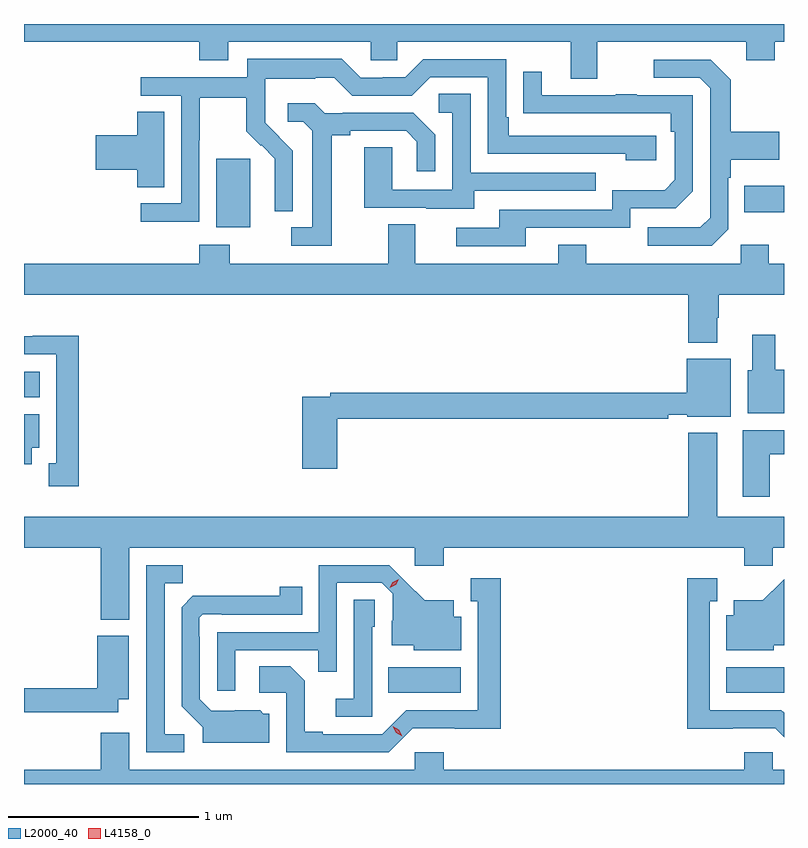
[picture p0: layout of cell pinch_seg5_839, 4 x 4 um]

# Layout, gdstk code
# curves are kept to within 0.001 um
import gdstk
lib = gdstk.Library(unit=1e-6, precision=1e-09)
def R(c, l, rs):  # rectangles x0, y0, x1, y1
    for r in rs: c.add(gdstk.rectangle(r[:2], r[2:], *l))
def P(c, l, *ps):  # polygons
    for p in ps: c.add(gdstk.Polygon(p, *l))
L2000_40 = (2000, 40)
L4158_0 = (4158, 0)

pinch_seg5_839 = lib.new_cell('pinch_seg5_839')
R(pinch_seg5_839, L2000_40, [(793.156,889.298,793.537,889.432), (794.936,889.298,795.239,889.432), (791.239,890.852,791.323,890.986), (792.251,891.746,792.43,892.107), (795.031,891.827,795.239,891.967)])
P(pinch_seg5_839, L2000_40, [(791.239,892.724),(792.161,892.724),(792.161,892.625),(792.313,892.625),(792.313,892.724),(793.065,892.724),(793.065,892.626),(793.203,892.626),(793.203,892.724),(794.117,892.724),(794.117,892.53),(794.257,892.53),(794.257,892.724),(795.041,892.724),(795.041,892.625),(795.189,892.625),(795.189,892.724),(795.239,892.724),(795.239,892.817),(791.239,892.817)],
  [(792.162,892.204),(792.165,892.204),(792.165,892.428),(792.409,892.428),(792.409,892.253),(792.486,892.176),(792.489,892.179),(792.56,892.109),(792.56,891.986),(792.558,891.986),(792.558,891.832),(792.654,891.832),(792.654,892.15),(792.508,892.298),(792.508,892.395),(792.51,892.395),(792.51,892.529),(792.773,892.529),(792.773,892.533),(792.873,892.533),(792.966,892.44),(793.281,892.44),(793.377,892.536),(793.68,892.536),(793.68,892.134),(794.405,892.134),(794.405,892.1),(794.566,892.1),(794.566,892.23),(793.789,892.23),(793.789,892.327),(793.776,892.327),(793.776,892.632),(793.341,892.632),(793.245,892.536),(793.127,892.536),(793.127,892.533),(793.011,892.533),(792.911,892.633),(792.414,892.633),(792.414,892.536),(791.853,892.536),(791.853,892.44),(792.066,892.44),(792.066,891.873),(791.853,891.873),(791.853,891.775),(792.162,891.775)],
  [(794.946,891.738),(794.946,892.007),(794.959,892.007),(794.959,892.103),(795.215,892.103),(795.215,892.251),(794.959,892.251),(794.959,892.523),(794.853,892.629),(794.553,892.629),(794.553,892.533),(794.796,892.533),(794.85,892.479),(794.85,891.798),(794.799,891.747),(794.523,891.747),(794.523,891.651),(794.859,891.651)],
  [(793.879,891.744),(794.43,891.744),(794.43,891.846),(794.67,891.846),(794.76,891.936),(794.76,892.443),(794.465,892.443),(794.465,892.448),(794.353,892.448),(794.353,892.443),(793.963,892.443),(793.963,892.567),(793.867,892.567),(793.867,892.348),(794.644,892.347),(794.644,892.25),(794.664,892.25),(794.664,891.996),(794.611,891.943),(794.334,891.943),(794.334,891.84),(793.739,891.84),(793.739,891.744),(793.515,891.744),(793.515,891.648),(793.879,891.648)],
  [(793.609,891.939),(794.249,891.939),(794.249,892.035),(793.59,892.035),(793.59,892.451),(793.422,892.451),(793.422,892.35),(793.494,892.35),(793.494,891.945),(793.176,891.945),(793.176,892.169),(793.031,892.169),(793.031,891.849),(793.355,891.849),(793.355,891.845),(793.609,891.845)],
  [(792.859,892.232),(792.955,892.232),(792.955,892.254),(793.25,892.254),(793.307,892.197),(793.307,892.041),(793.404,892.041),(793.404,892.234),(793.288,892.35),(792.916,892.35),(792.916,892.347),(792.822,892.347),(792.77,892.399),(792.627,892.399),(792.627,892.302),(792.708,892.302),(792.755,892.255),(792.755,891.747),(792.645,891.747),(792.645,891.651),(792.859,891.651)],
  [(791.977,892.355),(791.834,892.355),(791.834,892.232),(791.616,892.232),(791.616,892.049),(791.834,892.049),(791.834,891.958),(791.977,891.958)],
  [(794.887,891.272),(794.895,891.272),(794.895,891.392),(795.239,891.392),(795.239,891.556),(795.159,891.556),(795.159,891.655),(795.012,891.655),(795.012,891.556),(794.199,891.556),(794.199,891.655),(794.051,891.655),(794.051,891.556),(793.297,891.556),(793.297,891.764),(793.157,891.764),(793.157,891.556),(792.321,891.556),(792.321,891.655),(792.161,891.655),(792.161,891.556),(791.239,891.556),(791.239,891.392),(794.735,891.392),(794.735,891.14),(794.887,891.14)],
  [(795.239,890.998),(795.193,890.998),(795.193,891.181),(795.071,891.181),(795.071,890.994),(795.047,890.994),(795.047,890.768),(795.239,890.768)],
  [(791.527,891.176),(791.286,891.176),(791.286,891.174),(791.239,891.174),(791.239,891.078),(791.408,891.078),(791.408,890.505),(791.369,890.505),(791.369,890.385),(791.527,890.385)],
  [(792.887,890.74),(794.63,890.74),(794.63,890.76),(794.73,890.76),(794.73,890.75),(794.959,890.75),(794.959,891.055),(794.726,891.055),(794.726,890.876),(792.85,890.876),(792.85,890.856),(792.704,890.856),(792.704,890.475),(792.887,890.475)],
  [(791.281,890.588),(791.32,890.588),(791.32,890.764),(791.239,890.764),(791.239,890.501),(791.281,890.501)],
  [(795.163,890.552),(795.239,890.552),(795.239,890.68),(795.023,890.68),(795.023,890.328),(795.163,890.328)],
  [(791.794,890.06),(793.296,890.06),(793.296,889.965),(793.448,889.965),(793.448,890.06),(795.029,890.06),(795.029,889.965),(795.18,889.965),(795.18,890.06),(795.239,890.06),(795.239,890.224),(794.887,890.224),(794.887,890.665),(794.735,890.665),(794.735,890.224),(791.239,890.224),(791.239,890.06),(791.642,890.06),(791.642,889.682),(791.794,889.682)],
  [(792.082,889.08),(791.979,889.08),(791.979,889.873),(792.075,889.873),(792.075,889.968),(791.883,889.968),(791.883,888.984),(792.082,888.984)],
  [(792.351,889.521),(792.787,889.521),(792.787,889.408),(792.885,889.408),(792.885,889.875),(793.122,889.875),(793.179,889.818),(793.179,889.676),(793.175,889.676),(793.175,889.547),(793.29,889.547),(793.29,889.52),(793.54,889.52),(793.54,889.696),(793.501,889.696),(793.501,889.783),(793.349,889.783),(793.162,889.968),(792.789,889.968),(792.789,889.617),(792.255,889.617),(792.255,889.308),(792.351,889.308)],
  [(793.284,889.11),(793.747,889.109),(793.747,889.9),(793.589,889.9),(793.589,889.779),(793.628,889.779),(793.628,889.206),(793.251,889.206),(793.125,889.08),(792.811,889.08),(792.811,889.093),(792.717,889.093),(792.717,889.36),(792.641,889.436),(792.477,889.436),(792.477,889.296),(792.618,889.296),(792.618,888.984),(793.158,888.984)],
  [(795.239,889.192),(795.225,889.206),(794.848,889.206),(794.848,889.779),(794.887,889.779),(794.887,889.9),(794.73,889.9),(794.73,889.109),(794.97,889.109),(794.97,889.11),(795.192,889.11),(795.239,889.063)],
  [(795.186,889.547),(795.239,889.547),(795.239,889.894),(795.23,889.885),(795.127,889.783),(794.975,889.783),(794.975,889.705),(794.936,889.705),(794.936,889.52),(795.186,889.52)],
  [(792.529,889.188),(792.498,889.188),(792.482,889.204),(792.225,889.203),(792.165,889.263),(792.165,889.592),(792.162,889.592),(792.162,889.692),(792.18,889.71),(792.28,889.71),(792.28,889.707),(792.704,889.707),(792.704,889.855),(792.586,889.855),(792.586,889.808),(792.128,889.807),(792.069,889.748),(792.069,889.226),(792.179,889.116),(792.179,889.034),(792.529,889.034)],
  [(793.071,889.644),(793.086,889.644),(793.086,889.787),(792.975,889.787),(792.975,889.267),(792.879,889.267),(792.879,889.17),(793.071,889.17)],
  [(791.734,889.262),(791.791,889.262),(791.791,889.597),(791.624,889.597),(791.624,889.322),(791.239,889.322),(791.239,889.194),(791.734,889.194)],
  [(795.239,888.892),(795.18,888.892),(795.18,888.985),(795.029,888.985),(795.029,888.892),(793.448,888.892),(793.448,888.985),(793.296,888.985),(793.296,888.892),(791.794,888.892),(791.794,889.087),(791.642,889.087),(791.642,888.892),(791.239,888.892),(791.239,888.817),(795.239,888.817)])
P(pinch_seg5_839, L4158_0, [(793.229,889.069),(793.197,889.088),(793.179,889.12),(793.179,889.121),(793.179,889.121),(793.211,889.102),(793.229,889.069),(793.229,889.069)],
  [(793.164,889.85),(793.164,889.85),(793.181,889.879),(793.212,889.894),(793.212,889.894),(793.212,889.894),(793.195,889.865),(793.164,889.85)])

lib.write_gds('pinch_seg5_839.gds')
